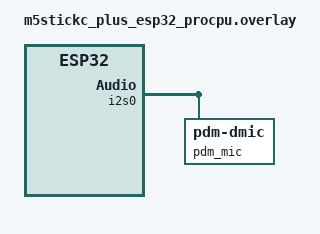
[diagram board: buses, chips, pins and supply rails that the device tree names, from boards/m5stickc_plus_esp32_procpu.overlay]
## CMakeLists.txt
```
# SPDX-License-Identifier: Apache-2.0

cmake_minimum_required(VERSION 3.28.3)

find_package(Zephyr REQUIRED HINTS $ENV{ZEPHYR_BASE})
project(dmic)

target_sources(app PRIVATE src/main.c)
```

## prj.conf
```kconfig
CONFIG_AUDIO=y
CONFIG_AUDIO_DMIC=y

CONFIG_LOG=y

# Needed by the `dmic dump` shell command for base64-encoded PCM output.
CONFIG_BASE64=y
```

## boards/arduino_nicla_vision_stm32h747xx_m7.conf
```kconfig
# SPDX-License-Identifier: Apache-2.0

# PDM filter index (pdm0); DFSDM channel comes from devicetree channel@N reg
CONFIG_SAMPLE_HW_CHANNEL_INDEX=0
```

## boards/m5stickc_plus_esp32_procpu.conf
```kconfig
CONFIG_AUDIO=y
CONFIG_AUDIO_DMIC=y
CONFIG_AUDIO_DMIC_ESP32=y
CONFIG_WIFI=n
CONFIG_BT=n
```

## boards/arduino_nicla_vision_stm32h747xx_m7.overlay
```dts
/*
 * SPDX-License-Identifier: Apache-2.0
 *
 * MP34DT06JTR (ABX00051 schematic U6) max PDM clock ~3.072 MHz.
 */

/ {
	chosen {
		zephyr,dmic = &dmic_dev;
	};
};
```

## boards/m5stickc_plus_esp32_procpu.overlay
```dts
/*
 * PDM digital microphone on I2S0: CLK = GPIO0, DATA = GPIO34
 *
 * SPDX-License-Identifier: Apache-2.0
 */

dmic_dev: &i2s0 {
	compatible = "espressif,esp32-i2s-pdm-dmic";
	status = "okay";
	pinctrl-0 = <&i2s0_pdm_dmic_default>;
	pinctrl-names = "default";

	pdm_mic: pdm-mic {
		compatible = "zephyr,pdm-dmic";
		clk-frequency-min = <1000000>;
		clk-frequency-max = <3500000>;
		clk-duty-cycle-min = <40>;
		clk-duty-cycle-max = <60>;
		channel-left;
	};
};
```

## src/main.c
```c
/*
 * Copyright (c) 2021 Nordic Semiconductor ASA
 *
 * SPDX-License-Identifier: Apache-2.0
 */

#include <errno.h>
#include <limits.h>
#include <stdbool.h>
#include <stdint.h>
#include <stdlib.h>

#include <zephyr/audio/dmic.h>
#include <zephyr/kernel.h>
#include <zephyr/logging/log.h>
#include <zephyr/sys/util.h>

#ifdef CONFIG_SHELL
#include <zephyr/shell/shell.h>
#include <zephyr/sys/base64.h>
#endif

LOG_MODULE_REGISTER(dmic_sample);

#define MAX_SAMPLE_RATE  16000
#define SAMPLE_BIT_WIDTH CONFIG_SAMPLE_BIT_WIDTH
#define PDM_CTL_IDX      CONFIG_SAMPLE_HW_CHANNEL_INDEX
#define BYTES_PER_SAMPLE (SAMPLE_BIT_WIDTH / 8)
/* Milliseconds to wait for a block to be read. */
#define READ_TIMEOUT     1000
#define DEFAULT_BLOCKS   (2 * BLOCK_COUNT)
#define MAX_CHANNELS     2

/*
 * Derive the bar width from the terminal width so the VU line fits on one
 * row.  Per-channel overhead is: label "L " (2), "[" (1), "] NNN%" (7) = 10
 * characters per channel, plus a 2-character separator between channels and
 * the trailing "  press any key to stop" (23 characters).  Round down so both
 * channels always get the same width.
 */
#define VU_BAR_OVERHEAD(_ch) (10 * (_ch) + 2 * ((_ch) - 1) + 23)
#define VU_BAR_WIDTH                                                                               \
	((CONFIG_SHELL_DEFAULT_TERMINAL_WIDTH - VU_BAR_OVERHEAD(MAX_CHANNELS)) / MAX_CHANNELS)

/* Size of a block for 100 ms of audio data. */
#define BLOCK_SIZE(_sample_rate, _number_of_channels)                                              \
	(BYTES_PER_SAMPLE * ((_sample_rate) / 10) * (_number_of_channels))

/* Driver will allocate blocks from this slab to receive audio data into them.
 * Application, after getting a given block from the driver and processing its
 * data, needs to free that block.
 */
#define MAX_BLOCK_SIZE BLOCK_SIZE(MAX_SAMPLE_RATE, MAX_CHANNELS)
#define BLOCK_COUNT    4
K_MEM_SLAB_DEFINE_STATIC(mem_slab, MAX_BLOCK_SIZE, BLOCK_COUNT, 4);
K_MUTEX_DEFINE(dmic_lock);
BUILD_ASSERT((SAMPLE_BIT_WIDTH == 16) || (SAMPLE_BIT_WIDTH == 32),
	     "This sample supports 16-bit and 32-bit PCM samples only");

static const struct device *const dmic_dev = DEVICE_DT_GET(DT_NODELABEL(dmic_dev));

static void prepare_dmic_cfg(struct dmic_cfg *cfg, struct pcm_stream_cfg *stream,
			     uint32_t sample_rate, uint8_t channels)
{
	*stream = (struct pcm_stream_cfg){
		.pcm_width = SAMPLE_BIT_WIDTH,
		.mem_slab = &mem_slab,
		.pcm_rate = sample_rate,
		.block_size = BLOCK_SIZE(sample_rate, channels),
	};

	*cfg = (struct dmic_cfg){
		.io =
			{
				/* These fields can be used to limit the PDM clock
				 * configurations that the driver is allowed to use
				 * to those supported by the microphone.
				 */
				.min_pdm_clk_freq = 1000000,
#if DT_HAS_COMPAT_STATUS_OKAY(arduino_nicla_vision)
				/* MP34DT06JTR max PDM clock (ABX00051 schematic U6) */
				.max_pdm_clk_freq = 3072000,
#else
				.max_pdm_clk_freq = 3500000,
#endif
				.min_pdm_clk_dc = 40,
				.max_pdm_clk_dc = 60,
			},
		.streams = stream,
		.channel =
			{
				.req_num_streams = 1,
				.req_num_chan = channels,
			},
	};

	cfg->channel.req_chan_map_lo = dmic_build_channel_map(0, PDM_CTL_IDX, PDM_CHAN_LEFT);
	if (channels == 2U) {
		cfg->channel.req_chan_map_lo |=
			dmic_build_channel_map(1, PDM_CTL_IDX, PDM_CHAN_RIGHT);
	}
}

/*
 * The PDM microphone wake-up and the DFSDM filter fill produce a transient
 * (mostly a large, slowly decaying DC offset) at the start of a capture.
 * Drop the first few 100 ms blocks so callers only ever see settled audio.
 * Bump this if your microphone takes longer to stabilise.
 */
#define SETTLING_BLOCKS 5U

static int discard_settling_blocks(const struct device *dev)
{
	for (uint32_t i = 0U; i < SETTLING_BLOCKS; ++i) {
		void *buffer;
		uint32_t size;
		int ret = dmic_read(dev, 0, &buffer, &size, READ_TIMEOUT);

		if (ret < 0) {
			return ret;
		}

		k_mem_slab_free(&mem_slab, buffer);
	}

	return 0;
}

static int do_pdm_transfer(const struct device *dev, struct dmic_cfg *cfg, size_t block_count)
{
	bool started = false;
	int ret;

	LOG_INF("PCM output rate: %u, channels: %u", cfg->streams[0].pcm_rate,
		cfg->channel.req_num_chan);

	ret = dmic_configure(dev, cfg);
	if (ret < 0) {
		LOG_ERR("Failed to configure the driver: %d", ret);
		return ret;
	}

	ret = dmic_trigger(dev, DMIC_TRIGGER_START);
	if (ret < 0) {
		LOG_ERR("START trigger failed: %d", ret);
		return ret;
	}

	started = true;

	ret = discard_settling_blocks(dev);

	for (size_t i = 0; (ret == 0) && (i < block_count); ++i) {
		void *buffer;
		uint32_t size;

		ret = dmic_read(dev, 0, &buffer, &size, READ_TIMEOUT);
		if (ret < 0) {
			LOG_ERR("%zu - read failed: %d", i, ret);
			break;
		}

		LOG_INF("%zu - got buffer %p of %u bytes", i, buffer, size);

		k_mem_slab_free(&mem_slab, buffer);
	}

	if (started) {
		int stop_ret = dmic_trigger(dev, DMIC_TRIGGER_STOP);

		if ((ret == 0) && (stop_ret < 0)) {
			ret = stop_ret;
		}
		if (stop_ret < 0) {
			LOG_ERR("STOP trigger failed: %d", stop_ret);
		}
	}

	return ret;
}

#ifdef CONFIG_SHELL
struct dmic_vu_ctx {
	struct k_thread thread;
	const struct shell *sh;
	struct dmic_cfg cfg;
	struct pcm_stream_cfg stream;
	atomic_t active;
	atomic_t stop_requested;
};

K_THREAD_STACK_DEFINE(dmic_vu_stack, 2048);
static struct dmic_vu_ctx dmic_vu_ctx;

static int parse_u32_arg(const struct shell *sh, const char *arg, const char *name, uint32_t *value)
{
	char *endptr;
	unsigned long parsed;

	errno = 0;
	parsed = strtoul(arg, &endptr, 0);
	/* parsed may be wider than uint32_t on 64-bit hosts. */
	if ((errno != 0) || (endptr == arg) || (*endptr != '\0') || (parsed > UINT32_MAX)) {
		shell_error(sh, "Invalid %s: %s", name, arg);
		return -EINVAL;
	}

	*value = (uint32_t)parsed;
	return 0;
}

static int parse_rate_channels_args(const struct shell *sh, const char *rate_arg,
				    const char *channels_arg, uint32_t *rate, uint8_t *channels);

static int parse_capture_args(const struct shell *sh, size_t argc, char **argv, uint32_t *blocks,
			      uint32_t *rate, uint8_t *channels)
{
	const char *rate_arg = NULL;
	const char *channels_arg = NULL;
	uint32_t parsed;
	int ret;

	*blocks = DEFAULT_BLOCKS;
	*rate = MAX_SAMPLE_RATE;
	*channels = 1U;

	if (argc > 1U) {
		ret = parse_u32_arg(sh, argv[1], "block count", &parsed);
		if (ret < 0) {
			return ret;
		}

		if (parsed == 0U) {
			shell_error(sh, "Block count must be greater than zero");
			return -EINVAL;
		}

		*blocks = parsed;
	}

	if (argc > 2U) {
		rate_arg = argv[2];
	}

	if (argc > 3U) {
		channels_arg = argv[3];
	}

	return parse_rate_channels_args(sh, rate_arg, channels_arg, rate, channels);
}

static int parse_rate_channels_args(const struct shell *sh, const char *rate_arg,
				    const char *channels_arg, uint32_t *rate, uint8_t *channels)
{
	uint32_t parsed;
	int ret;

	*rate = MAX_SAMPLE_RATE;
	*channels = 1U;

	if (rate_arg != NULL) {
		ret = parse_u32_arg(sh, rate_arg, "sample rate", &parsed);
		if (ret < 0) {
			return ret;
		}

		if ((parsed == 0U) || (parsed > MAX_SAMPLE_RATE)) {
			shell_error(sh, "Sample rate must be in the range 1-%u", MAX_SAMPLE_RATE);
			return -EINVAL;
		}

		*rate = parsed;
	}

	if (channels_arg != NULL) {
		ret = parse_u32_arg(sh, channels_arg, "channel count", &parsed);
		if (ret < 0) {
			return ret;
		}

		if ((parsed == 0U) || (parsed > MAX_CHANNELS)) {
			shell_error(sh, "Channel count must be 1 or 2");
			return -EINVAL;
		}

		*channels = (uint8_t)parsed;
	}

	return 0;
}

static int parse_vu_args(const struct shell *sh, size_t argc, char **argv, uint32_t *rate,
			 uint8_t *channels)
{
	return parse_rate_channels_args(sh, (argc > 1U) ? argv[1] : NULL,
					(argc > 2U) ? argv[2] : NULL, rate, channels);
}

static void measure_peak_levels(const void *buffer, uint32_t size, uint8_t channels,
				uint8_t levels[MAX_CHANNELS])
{
	uint64_t peaks[MAX_CHANNELS] = {0U};
	uint64_t full_scale = 1U;
	size_t sample_count = size / BYTES_PER_SAMPLE;

	if (SAMPLE_BIT_WIDTH == 16) {
		const int16_t *samples = buffer;

		full_scale = INT16_MAX;

		for (size_t i = 0; i < sample_count; ++i) {
			int64_t sample = samples[i];
			uint64_t magnitude = (uint64_t)llabs(sample);
			uint8_t channel = i % channels;

			peaks[channel] = MAX(peaks[channel], magnitude);
		}
	} else if (SAMPLE_BIT_WIDTH == 32) {
		const int32_t *samples = buffer;

		full_scale = INT32_MAX;

		for (size_t i = 0; i < sample_count; ++i) {
			int64_t sample = samples[i];
			uint64_t magnitude = (uint64_t)llabs(sample);
			uint8_t channel = i % channels;

			peaks[channel] = MAX(peaks[channel], magnitude);
		}
	}

	for (uint8_t i = 0U; i < channels; ++i) {
		uint64_t percent = (peaks[i] * 100ULL) / full_scale;

		levels[i] = (uint8_t)MIN(percent, 100ULL);
	}
}

static void render_bar(const struct shell *sh, const char *label, uint8_t level)
{
	uint32_t filled = (level * VU_BAR_WIDTH) / 100U;
	/* Color thresholds derived from standard dBFS zones:
	 *   green  : below -18 dBFS  (linear ~13 % of full scale)
	 *   yellow : -18 dBFS to -6 dBFS  (linear ~50 % of full scale)
	 *   red    : above -6 dBFS
	 */
	uint32_t green_limit = (VU_BAR_WIDTH * 13U) / 100U;
	uint32_t yellow_limit = (VU_BAR_WIDTH * 50U) / 100U;

	shell_fprintf(sh, SHELL_NORMAL, "%s [", label);

	for (uint32_t i = 0U; i < VU_BAR_WIDTH; ++i) {
		enum shell_vt100_color color = SHELL_NORMAL;
		char bar = '.';

		if (i < filled) {
			bar = '#';
			if (i < green_limit) {
				color = SHELL_INFO;
			} else if (i < yellow_limit) {
				color = SHELL_WARNING;
			} else {
				color = SHELL_ERROR;
			}
		}

		shell_fprintf(sh, color, "%c", bar);
	}

	shell_fprintf(sh, SHELL_NORMAL, "] %3u%%", level);
}

static void render_vu_meter(const struct shell *sh, uint8_t channels, uint8_t levels[MAX_CHANNELS])
{
	shell_fprintf(sh, SHELL_NORMAL, "\r\033[2K");
	render_bar(sh, "L", levels[0]);

	if (channels == 2U) {
		shell_fprintf(sh, SHELL_NORMAL, "  ");
		render_bar(sh, "R", levels[1]);
	}

	shell_fprintf(sh, SHELL_NORMAL, "  press any key to stop");
}

static void dmic_vu_bypass_cb(const struct shell *sh, uint8_t *data, size_t len, void *user_data)
{
	ARG_UNUSED(sh);
	ARG_UNUSED(data);
	ARG_UNUSED(len);
	ARG_UNUSED(user_data);

	atomic_set(&dmic_vu_ctx.stop_requested, 1);
}

 static void finish_vu_meter(int ret)
 {
	 const struct shell *sh = dmic_vu_ctx.sh;

	 shell_set_bypass(sh, NULL, NULL);
	 shell_fprintf(sh, SHELL_NORMAL, "\r\033[2K");
	 if (ret < 0) {
		 shell_error(sh, "VU meter stopped with error: %d", ret);
	 } else {
		 shell_print(sh, "VU meter stopped");
	 }

	 atomic_set(&dmic_vu_ctx.active, 0);
 }

 static void dmic_vu_thread(void *p1, void *p2, void *p3)
 {
	 uint8_t levels[MAX_CHANNELS] = {0U};
	 bool started = false;
	 int ret;

	 ARG_UNUSED(p1);
	 ARG_UNUSED(p2);
	 ARG_UNUSED(p3);

	 ret = k_mutex_lock(&dmic_lock, K_NO_WAIT);
	 if (ret < 0) {
		 finish_vu_meter(ret);
		 return;
	 }

	 ret = dmic_configure(dmic_dev, &dmic_vu_ctx.cfg);
	 if (ret < 0) {
		 goto out;
	 }

	 ret = dmic_trigger(dmic_dev, DMIC_TRIGGER_START);
	 if (ret < 0) {
		 goto out;
	 }

	 started = true;

	 ret = discard_settling_blocks(dmic_dev);
	 if (ret < 0) {
		 goto out;
	 }

	 while (!atomic_get(&dmic_vu_ctx.stop_requested)) {
		 void *buffer;
		 uint32_t size;

		 ret = dmic_read(dmic_dev, 0, &buffer, &size, READ_TIMEOUT);
		 if (ret < 0) {
			 goto out;
		 }

		 if (!atomic_get(&dmic_vu_ctx.stop_requested)) {
			 measure_peak_levels(buffer, size, dmic_vu_ctx.cfg.channel.req_num_chan,
					     levels);
			 render_vu_meter(dmic_vu_ctx.sh, dmic_vu_ctx.cfg.channel.req_num_chan,
					 levels);
		 }

		 k_mem_slab_free(&mem_slab, buffer);
	 }

	 ret = 0;

 out:
	 if (started) {
		 int stop_ret = dmic_trigger(dmic_dev, DMIC_TRIGGER_STOP);

		 if ((ret == 0) && (stop_ret < 0)) {
			 ret = stop_ret;
		 }
	 }

	 k_mutex_unlock(&dmic_lock);
	 finish_vu_meter(ret);
 }

 static int cmd_dmic_capture(const struct shell *sh, size_t argc, char **argv)
 {
	 struct dmic_cfg cfg;
	 struct pcm_stream_cfg stream;
	 uint32_t blocks;
	 uint32_t rate;
	 uint8_t channels;
	 int ret;

	 ret = parse_capture_args(sh, argc, argv, &blocks, &rate, &channels);
	 if (ret < 0) {
		 return ret;
	 }

	 ret = k_mutex_lock(&dmic_lock, K_NO_WAIT);
	 if (ret < 0) {
		 shell_error(sh, "DMIC is busy");
		 return ret;
	 }

	 prepare_dmic_cfg(&cfg, &stream, rate, channels);
	 shell_print(sh, "Capturing %u blocks at %u Hz using %u channel(s)", blocks, rate,
		     channels);
	 ret = do_pdm_transfer(dmic_dev, &cfg, blocks);
	 k_mutex_unlock(&dmic_lock);

	 return ret;
 }

 /*
  * `dmic dump` streams raw PCM as base64 so the captured audio can be replayed
  * on a host without an extra transport.  Encode 48 source bytes (= 64 base64
  * chars) per line so the output stays inside typical terminal widths and lines
  * up with what `base64 -d` expects.
  */
 #define DUMP_CHUNK_BYTES 48U
 #define DUMP_CHUNK_B64   ((DUMP_CHUNK_BYTES / 3U) * 4U)
 #define DUMP_DEFAULT_SECONDS 2U
 #define DUMP_MAX_SECONDS     10U

 static void dmic_dump_print_instructions(const struct shell *sh, uint32_t rate, uint8_t channels)
 {
	 const char *fmt = (SAMPLE_BIT_WIDTH == 16) ? "s16le" : "s32le";
	 unsigned int bits = SAMPLE_BIT_WIDTH;

	 shell_print(sh, "# --- on your computer ---");
	 shell_print(sh, "# The dump can be hundreds of lines, so log the serial session");
	 shell_print(sh, "# to a file instead of copy-pasting (copy-paste drops lines).");
	 shell_print(sh, "# 1. capture the session to a file, e.g. with tio:");
	 shell_print(sh, "#      tio -l session.log /dev/tty.usbmodemXXXX");
	 shell_print(sh, "# 2. extract just the base64 payload and decode it:");
	 shell_print(sh, "#      sed -n '/BEGIN PCM base64/,/END PCM base64/p' session.log \\");
	 shell_print(sh, "#        | grep '^[A-Za-z0-9+/=]\\+$' | base64 -d > audio.raw");
	 shell_print(sh, "# 3a. play it directly with ffplay:");
	 shell_print(sh, "#      ffplay -f %s -ar %u -ac %u audio.raw", fmt, rate, channels);
	 shell_print(sh, "# 3b. or convert it to a .wav with sox:");
	 shell_print(sh, "#      sox -r %u -e signed -b %u -c %u audio.raw audio.wav",
		     rate, bits, channels);
 }

 static int dmic_dump_emit(const struct shell *sh, const uint8_t *src, size_t slen,
			   uint8_t *carry, size_t *carry_len)
 {
	 uint8_t line[DUMP_CHUNK_B64 + 1];
	 size_t olen;
	 int ret;

	 /* Drain leftover bytes from the previous block first, padded with the
	  * head of this block, so the base64 stream stays aligned on 3-byte
	  * boundaries except on the very last chunk.
	  */
	 if (*carry_len != 0U) {
		 size_t take = MIN(DUMP_CHUNK_BYTES - *carry_len, slen);

		 memcpy(carry + *carry_len, src, take);
		 *carry_len += take;
		 src += take;
		 slen -= take;

		 if (*carry_len < DUMP_CHUNK_BYTES) {
			 return 0;
		 }

		 ret = base64_encode(line, sizeof(line), &olen, carry, *carry_len);
		 if (ret < 0) {
			 return ret;
		 }
		 shell_print(sh, "%s", line);
		 *carry_len = 0U;
	 }

	 while (slen >= DUMP_CHUNK_BYTES) {
		 ret = base64_encode(line, sizeof(line), &olen, src, DUMP_CHUNK_BYTES);
		 if (ret < 0) {
			 return ret;
		 }
		 shell_print(sh, "%s", line);
		 src += DUMP_CHUNK_BYTES;
		 slen -= DUMP_CHUNK_BYTES;
	 }

	 if (slen != 0U) {
		 memcpy(carry, src, slen);
		 *carry_len = slen;
	 }

	 return 0;
 }

 static int dmic_dump_flush(const struct shell *sh, const uint8_t *carry, size_t carry_len)
 {
	 uint8_t line[DUMP_CHUNK_B64 + 1];
	 size_t olen;
	 int ret;

	 if (carry_len == 0U) {
		 return 0;
	 }

	 ret = base64_encode(line, sizeof(line), &olen, carry, carry_len);
	 if (ret < 0) {
		 return ret;
	 }
	 shell_print(sh, "%s", line);

	 return 0;
 }

 static int parse_dump_args(const struct shell *sh, size_t argc, char **argv, uint32_t *seconds,
			    uint32_t *rate, uint8_t *channels)
 {
	 uint32_t parsed;
	 int ret;

	 *seconds = DUMP_DEFAULT_SECONDS;

	 if (argc > 1U) {
		 ret = parse_u32_arg(sh, argv[1], "seconds", &parsed);
		 if (ret < 0) {
			 return ret;
		 }

		 if ((parsed == 0U) || (parsed > DUMP_MAX_SECONDS)) {
			 shell_error(sh, "Duration must be in the range 1-%u seconds",
				     DUMP_MAX_SECONDS);
			 return -EINVAL;
		 }

		 *seconds = parsed;
	 }

	 return parse_rate_channels_args(sh, (argc > 2U) ? argv[2] : NULL,
					 (argc > 3U) ? argv[3] : NULL, rate, channels);
 }

 static int cmd_dmic_dump(const struct shell *sh, size_t argc, char **argv)
 {
	 struct dmic_cfg cfg;
	 struct pcm_stream_cfg stream;
	 uint32_t seconds;
	 uint32_t rate;
	 uint8_t channels;
	 uint32_t blocks;
	 uint8_t carry[DUMP_CHUNK_BYTES];
	 size_t carry_len = 0U;
	 bool started = false;
	 int ret;

	 ret = parse_dump_args(sh, argc, argv, &seconds, &rate, &channels);
	 if (ret < 0) {
		 return ret;
	 }

	 /* Each block holds 100 ms of audio (see BLOCK_SIZE). */
	 blocks = seconds * 10U;

	 ret = k_mutex_lock(&dmic_lock, K_NO_WAIT);
	 if (ret < 0) {
		 shell_error(sh, "DMIC is busy");
		 return ret;
	 }

	 prepare_dmic_cfg(&cfg, &stream, rate, channels);

	 ret = dmic_configure(dmic_dev, &cfg);
	 if (ret < 0) {
		 shell_error(sh, "configure failed: %d", ret);
		 goto out;
	 }

	 ret = dmic_trigger(dmic_dev, DMIC_TRIGGER_START);
	 if (ret < 0) {
		 shell_error(sh, "start trigger failed: %d", ret);
		 goto out;
	 }
	 started = true;

	 ret = discard_settling_blocks(dmic_dev);
	 if (ret < 0) {
		 shell_error(sh, "settling read failed: %d", ret);
		 goto out;
	 }

	 shell_print(sh, "# --- BEGIN PCM base64 (%us, %u Hz, %u ch, %u-bit signed LE) ---",
		     seconds, rate, channels, (unsigned int)SAMPLE_BIT_WIDTH);

	 for (uint32_t i = 0U; i < blocks; ++i) {
		 void *buffer;
		 uint32_t size;

		 ret = dmic_read(dmic_dev, 0, &buffer, &size, READ_TIMEOUT);
		 if (ret < 0) {
			 shell_error(sh, "read failed at block %u: %d", i, ret);
			 break;
		 }

		 ret = dmic_dump_emit(sh, buffer, size, carry, &carry_len);
		 k_mem_slab_free(&mem_slab, buffer);
		 if (ret < 0) {
			 shell_error(sh, "base64 encode failed: %d", ret);
			 break;
		 }
	 }

	 if (ret == 0) {
		 ret = dmic_dump_flush(sh, carry, carry_len);
	 }

	 shell_print(sh, "# --- END PCM base64 ---");

	 if (ret == 0) {
		 dmic_dump_print_instructions(sh, rate, channels);
	 }

 out:
	 if (started) {
		 int stop_ret = dmic_trigger(dmic_dev, DMIC_TRIGGER_STOP);

		 if ((ret == 0) && (stop_ret < 0)) {
			 ret = stop_ret;
		 }
	 }
	 k_mutex_unlock(&dmic_lock);

	 return ret;
 }

 static int cmd_dmic_vu(const struct shell *sh, size_t argc, char **argv)
 {
	 uint32_t rate;
	 uint8_t channels;
	 int ret;

	 ret = parse_vu_args(sh, argc, argv, &rate, &channels);
	 if (ret < 0) {
		 return ret;
	 }

	 if (atomic_cas(&dmic_vu_ctx.active, 0, 1) == false) {
		 shell_error(sh, "VU meter is already running");
		 return -EBUSY;
	 }

	 prepare_dmic_cfg(&dmic_vu_ctx.cfg, &dmic_vu_ctx.stream, rate, channels);
	 dmic_vu_ctx.sh = sh;
	 atomic_set(&dmic_vu_ctx.stop_requested, 0);

	 shell_print(sh, "Starting VU meter at %u Hz using %u channel(s)", rate, channels);
	 shell_set_bypass(sh, dmic_vu_bypass_cb, NULL);
	 k_thread_create(&dmic_vu_ctx.thread, dmic_vu_stack, K_THREAD_STACK_SIZEOF(dmic_vu_stack),
			 dmic_vu_thread, NULL, NULL, NULL, K_PRIO_PREEMPT(8), 0, K_NO_WAIT);
	 k_thread_name_set(&dmic_vu_ctx.thread, "dmic_vu");

	 return 0;
 }

 SHELL_STATIC_SUBCMD_SET_CREATE(dmic_cmds,
				SHELL_CMD_ARG(capture, NULL,
					      "Capture DMIC blocks [blocks] [rate] [channels]",
					      cmd_dmic_capture, 1, 3),
				SHELL_CMD_ARG(dump, NULL,
					      "Dump PCM as base64 [seconds=2] [rate=16000] [channels=1]",
					      cmd_dmic_dump, 1, 3),
				SHELL_CMD_ARG(vu, NULL,
					      "Run a live VU meter [rate=16000] [channels=1]",
					      cmd_dmic_vu, 1, 2),
				SHELL_SUBCMD_SET_END);

 SHELL_CMD_REGISTER(dmic, &dmic_cmds, "DMIC sample shell commands", NULL);
#endif /* CONFIG_SHELL */

 int main(void)
 {
	 struct dmic_cfg cfg;
	 struct pcm_stream_cfg stream;
	 int ret;

	 LOG_INF("DMIC sample");

	 if (!device_is_ready(dmic_dev)) {
		 LOG_ERR("%s is not ready", dmic_dev->name);
		 return 0;
	 }

	 k_mutex_lock(&dmic_lock, K_FOREVER);

	 prepare_dmic_cfg(&cfg, &stream, MAX_SAMPLE_RATE, 1U);
	 ret = do_pdm_transfer(dmic_dev, &cfg, DEFAULT_BLOCKS);
	 if (ret < 0) {
		 goto out;
	 }

	 prepare_dmic_cfg(&cfg, &stream, MAX_SAMPLE_RATE, 2U);
	 ret = do_pdm_transfer(dmic_dev, &cfg, DEFAULT_BLOCKS);
	 if (ret < 0) {
		 goto out;
	 }

	 LOG_INF("Use the shell 'dmic capture' and 'dmic vu' commands for interactive capture");

 out:
	 k_mutex_unlock(&dmic_lock);
	 LOG_INF("Exiting");
	 return 0;
 }
```
